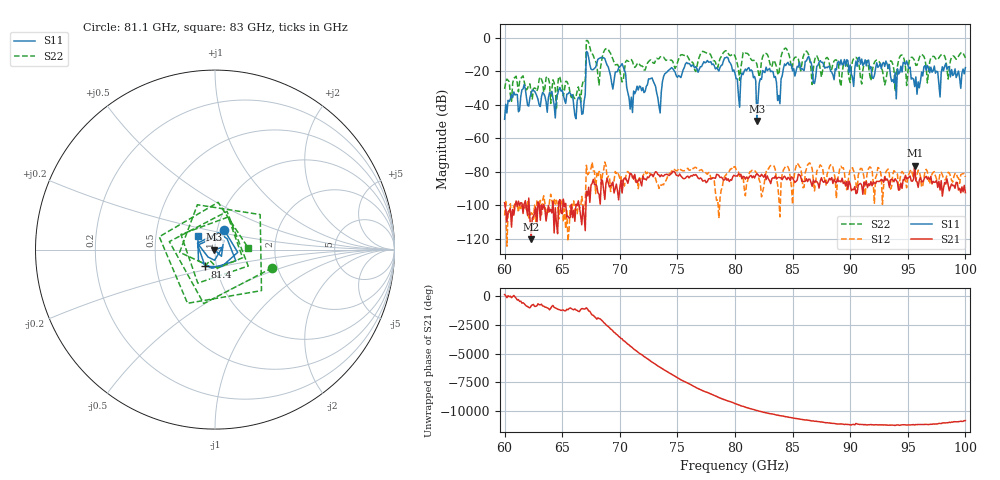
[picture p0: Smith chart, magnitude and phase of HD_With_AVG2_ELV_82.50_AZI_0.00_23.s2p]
! 11/25/2026 10:21:30 AM
! C:\ANRITSUVNA\TEMP\TEMP.S2P
! CHANNEL.1
! TR.MEASUREMENT
! RAW.DATA
# HZ S RI R 50.0
! FREQ.HZ  S11RE  S11IM  S21RE  S21IM  S12RE  S12IM  S22RE  S22IM
!; PortSelection: Port_12
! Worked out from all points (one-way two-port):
!   401 points, 60 GHz to 100 GHz, reference 50 ohm
!   highest |S21| = -76.29 dB at 95.6 GHz (marker M1); lowest = -120.1 dB at 62.3 GHz (marker M2)
!   lowest |S11| = -49.6 dB at 81.9 GHz (marker M3), VSWR 1.01, Z = 49.7 - j0.00538 ohm
!   |S11| at or under -10 dB: start of sweep to 67.09 GHz; 67.24 GHz to end of sweep
!   |S22| runs from -42.9 to -1.7 dB; largest |S21 - S12| = 0.00023
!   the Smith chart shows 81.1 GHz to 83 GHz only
!   S11 on the Smith chart (normalised r, x): 81.1 GHz: 1.08, +0.24; 81.4 GHz: 0.88, -0.17; 83 GHz: 0.82, +0.12
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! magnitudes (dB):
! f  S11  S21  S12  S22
! 60 GHz  -48.7  -98.4  -106.1  -30.5
! 62.3 GHz  -33.4  -120.1  -104.4  -32.9
! 66.7 GHz  -45.7  -111.6  -94.7  -29.5
! 67.3 GHz  -12.1  -89.2  -80.9  -3.2
! 68.4 GHz  -11.8  -84.5  -87.4  -14.7
! 68.9 GHz  -16.5  -84.2  -84.3  -6.5
! 70.3 GHz  -17.5  -84.8  -84.9  -25.5
! 70.9 GHz  -42.6  -81.0  -81.0  -13.5
! 72.7 GHz  -24.4  -81.4  -81.7  -13.3
! 73.4 GHz  -40.9  -81.9  -89.9  -12.6
! 74.4 GHz  -18.6  -81.4  -80.9  -13.4
! 80 GHz  -21.2  -82.5  -76.8  -11.1
! 81.1 GHz  -18.4  -84.0  -85.3  -9.5
! 81.4 GHz  -19.3  -82.2  -79.7  -13.0
! 81.9 GHz  -49.6  -81.3  -80.9  -15.9
! 83 GHz  -18.4  -85.3  -77.0  -14.6
! 83.8 GHz  -34.5  -83.3  -94.8  -22.3
! 84.4 GHz  -16.7  -83.7  -76.6  -6.2
! 86.7 GHz  -17.6  -88.7  -78.0  -28.0
! 93.4 GHz  -16.3  -89.3  -81.5  -15.6
! 95.6 GHz  -29.2  -76.3  -76.1  -13.7
! 100 GHz  -17.9  -92.4  -83.0  -12.1
